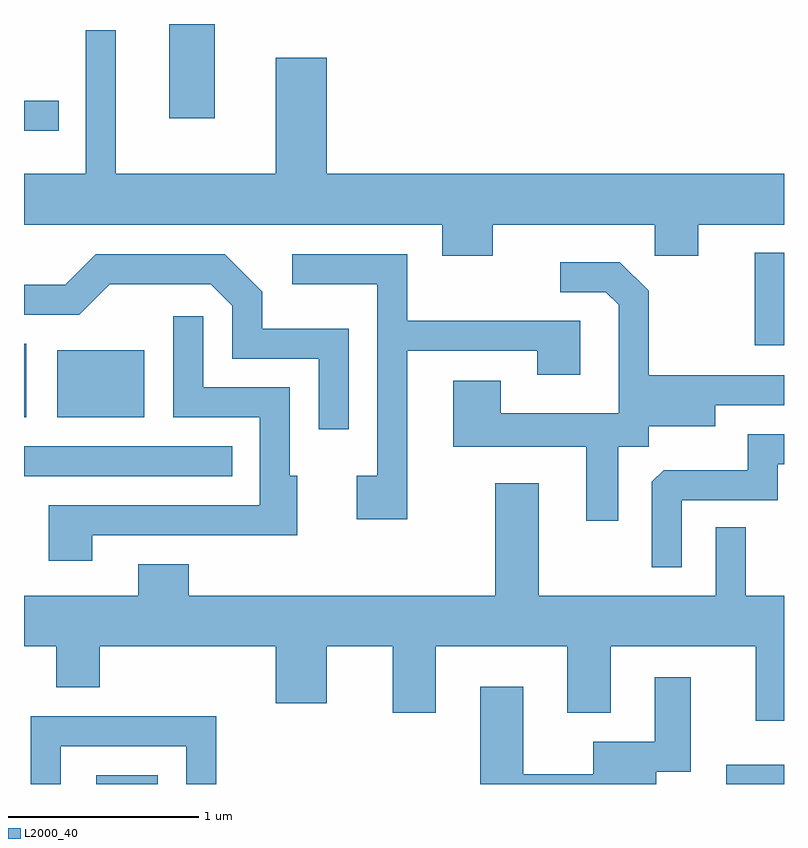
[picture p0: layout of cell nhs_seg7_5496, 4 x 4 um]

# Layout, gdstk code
import gdstk
lib = gdstk.Library(unit=1e-6, precision=1e-09)
def R(c, l, rs):  # rectangles x0, y0, x1, y1
    for r in rs: c.add(gdstk.rectangle(r[:2], r[2:], *l))
def P(c, l, *ps):  # polygons
    for p in ps: c.add(gdstk.Polygon(p, *l))
L2000_40 = (2000, 40)

nhs_seg7_5496 = lib.new_cell('nhs_seg7_5496')
R(nhs_seg7_5496, L2000_40, [(353.991,1720.252,354.314,1720.299), (357.306,1720.252,357.611,1720.354), (353.611,1721.871,354.708,1722.029), (353.611,1722.181,353.624,1722.569), (353.786,1722.181,354.244,1722.534), (357.456,1722.561,357.611,1723.048), (353.611,1723.691,353.793,1723.849), (354.376,1723.756,354.614,1724.252)])
P(nhs_seg7_5496, L2000_40, [(356.079,1723.196),(356.931,1723.196),(356.931,1723.031),(357.159,1723.031),(357.159,1723.196),(357.611,1723.196),(357.611,1723.464),(355.204,1723.464),(355.204,1724.074),(354.936,1724.074),(354.936,1723.464),(354.094,1723.464),(354.094,1724.218),(353.936,1724.218),(353.936,1723.464),(353.611,1723.464),(353.611,1723.196),(355.811,1723.196),(355.811,1723.031),(356.079,1723.031)],
  [(355.319,1722.649),(354.864,1722.649),(354.864,1722.842),(354.667,1723.039),(353.989,1723.039),(353.829,1722.879),(353.611,1722.879),(353.611,1722.721),(353.902,1722.721),(354.062,1722.881),(354.594,1722.881),(354.706,1722.769),(354.706,1722.491),(355.161,1722.491),(355.161,1722.118),(355.319,1722.118)],
  [(355.629,1722.531),(356.311,1722.531),(356.311,1722.406),(356.539,1722.406),(356.539,1722.689),(355.629,1722.689),(355.629,1723.039),(355.023,1723.039),(355.023,1722.881),(355.471,1722.881),(355.471,1721.874),(355.361,1721.874),(355.361,1721.646),(355.629,1721.646)],
  [(356.739,1722.026),(356.899,1722.026),(356.899,1722.136),(357.249,1722.136),(357.249,1722.246),(357.611,1722.246),(357.611,1722.404),(356.899,1722.404),(356.899,1722.847),(356.747,1722.999),(356.433,1722.999),(356.433,1722.841),(356.674,1722.841),(356.741,1722.774),(356.741,1722.204),(356.119,1722.204),(356.119,1722.374),(355.871,1722.374),(355.871,1722.026),(356.571,1722.026),(356.571,1721.638),(356.739,1721.638)],
  [(353.969,1721.561),(355.049,1721.561),(355.049,1721.874),(355.009,1721.874),(355.009,1722.339),(354.554,1722.339),(354.554,1722.713),(354.396,1722.713),(354.396,1722.181),(354.851,1722.181),(354.851,1721.719),(353.741,1721.719),(353.741,1721.426),(353.969,1721.426)],
  [(357.074,1721.746),(357.579,1721.746),(357.579,1721.936),(357.611,1721.936),(357.611,1722.094),(357.421,1722.094),(357.421,1721.904),(356.977,1721.904),(356.916,1721.844),(356.916,1721.393),(357.074,1721.393)],
  [(356.319,1721.834),(356.091,1721.834),(356.091,1721.244),(354.479,1721.244),(354.479,1721.409),(354.211,1721.409),(354.211,1721.244),(353.611,1721.244),(353.611,1720.976),(353.781,1720.976),(353.781,1720.761),(354.009,1720.761),(354.009,1720.976),(354.936,1720.976),(354.936,1720.676),(355.204,1720.676),(355.204,1720.976),(355.551,1720.976),(355.551,1720.626),(355.779,1720.626),(355.779,1720.976),(356.471,1720.976),(356.471,1720.626),(356.699,1720.626),(356.699,1720.976),(357.461,1720.976),(357.461,1720.586),(357.611,1720.586),(357.611,1721.244),(357.409,1721.244),(357.409,1721.603),(357.251,1721.603),(357.251,1721.244),(356.319,1721.244)],
  [(356.939,1720.316),(357.119,1720.316),(357.119,1720.814),(356.931,1720.814),(356.931,1720.474),(356.606,1720.474),(356.606,1720.304),(356.239,1720.304),(356.239,1720.764),(356.011,1720.764),(356.011,1720.252),(356.939,1720.252)],
  [(353.804,1720.451),(354.466,1720.451),(354.466,1720.252),(354.624,1720.252),(354.624,1720.609),(353.646,1720.609),(353.646,1720.252),(353.804,1720.252)])

lib.write_gds('nhs_seg7_5496.gds')
